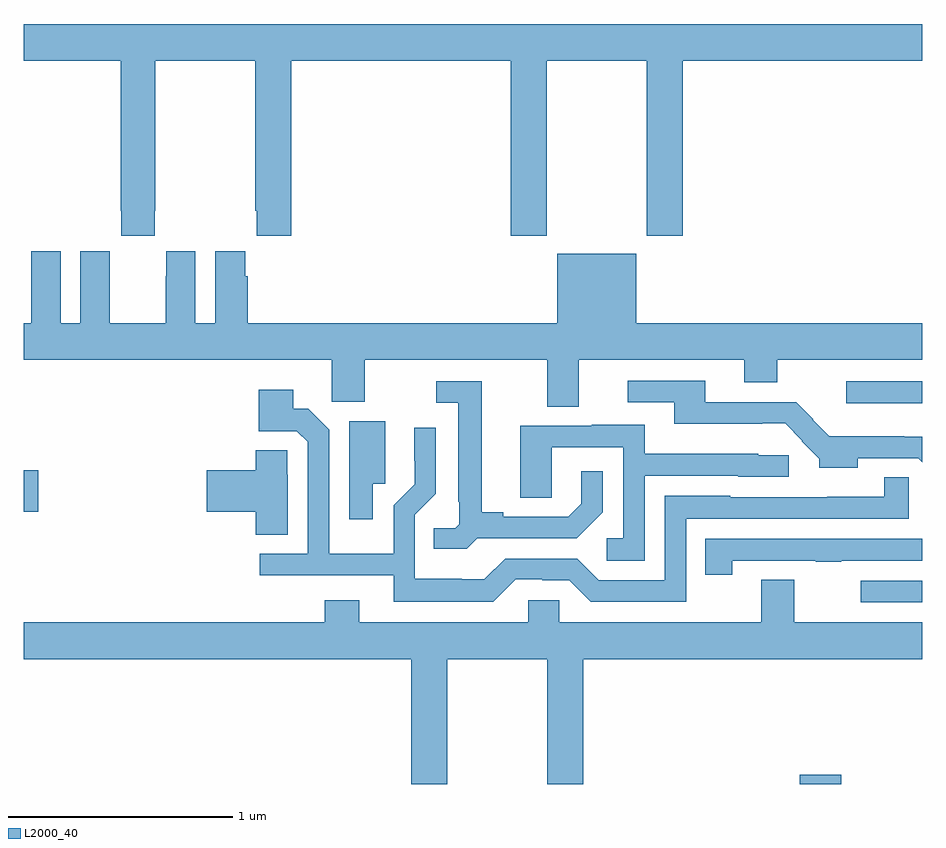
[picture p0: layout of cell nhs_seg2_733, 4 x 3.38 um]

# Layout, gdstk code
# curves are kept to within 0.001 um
import gdstk
lib = gdstk.Library(unit=1e-6, precision=1e-09)
def R(c, l, rs):  # rectangles x0, y0, x1, y1
    for r in rs: c.add(gdstk.rectangle(r[:2], r[2:], *l))
def P(c, l, *ps):  # polygons
    for p in ps: c.add(gdstk.Polygon(p, *l))
L2000_40 = (2000, 40)

nhs_seg2_733 = lib.new_cell('nhs_seg2_733')
R(nhs_seg2_733, L2000_40, [(152.456,593.8,152.639,593.842), (152.727,594.609,153,594.705), (149,595.013,149.065,595.196), (152.661,595.496,153,595.593)])
P(nhs_seg2_733, L2000_40, [(149.583,596.353),(149.586,596.353),(149.586,597.02),(150.031,597.02),(150.031,596.353),(150.037,596.353),(150.037,596.241),(150.191,596.241),(150.191,597.02),(151.169,597.02),(151.169,596.241),(151.329,596.241),(151.329,597.02),(151.774,597.02),(151.774,596.241),(151.934,596.241),(151.934,597.02),(153,597.02),(153,597.184),(149,597.184),(149,597.02),(149.431,597.02),(149.431,596.353),(149.433,596.353),(149.433,596.241),(149.583,596.241)],
  [(151.471,595.688),(152.207,595.688),(152.207,595.589),(152.355,595.589),(152.355,595.688),(153,595.688),(153,595.852),(151.726,595.852),(151.726,596.161),(151.376,596.161),(151.376,595.852),(149.996,595.852),(149.996,596.06),(149.986,596.06),(149.986,596.173),(149.852,596.173),(149.852,595.852),(149.764,595.852),(149.764,596.173),(149.634,596.173),(149.634,596.06),(149.633,596.06),(149.633,595.852),(149.383,595.852),(149.383,596.06),(149.382,596.06),(149.382,596.173),(149.252,596.173),(149.252,595.852),(149.164,595.852),(149.164,596.173),(149.034,596.173),(149.034,596.06),(149.033,596.06),(149.033,595.852),(149,595.852),(149,595.688),(150.372,595.688),(150.372,595.501),(150.519,595.501),(150.519,595.688),(151.331,595.688),(151.331,595.48),(151.471,595.48)],
  [(152.713,595.251),(152.982,595.251),(153,595.233),(153,595.346),(152.921,595.346),(152.921,595.348),(152.587,595.348),(152.513,595.421),(152.515,595.423),(152.439,595.5),(152.035,595.5),(152.035,595.596),(151.689,595.596),(151.689,595.5),(151.895,595.5),(151.895,595.403),(152.288,595.403),(152.288,595.406),(152.39,595.406),(152.466,595.329),(152.463,595.326),(152.542,595.248),(152.542,595.208),(152.713,595.208)],
  [(151.02,594.894),(151.462,594.894),(151.578,595.01),(151.578,595.192),(151.481,595.192),(151.481,595.047),(151.424,594.99),(151.135,594.99),(151.135,595.01),(151.039,595.01),(151.039,595.593),(150.837,595.593),(150.837,595.497),(150.935,595.497),(150.935,595.057),(150.939,595.057),(150.939,594.957),(150.921,594.939),(150.826,594.939),(150.826,594.847),(150.972,594.847)],
  [(151.191,594.711),(151.308,594.711),(151.308,594.708),(151.428,594.708),(151.524,594.612),(151.95,594.612),(151.95,594.981),(152.94,594.981),(152.94,595.166),(152.832,595.166),(152.832,595.078),(152.145,595.077),(152.145,595.084),(151.854,595.084),(151.854,594.708),(151.56,594.708),(151.464,594.804),(151.143,594.804),(151.05,594.711),(150.95,594.711),(150.95,594.715),(150.741,594.715),(150.741,594.999),(150.834,595.092),(150.834,595.387),(150.738,595.387),(150.738,595.24),(150.74,595.24),(150.74,595.134),(150.648,595.042),(150.648,594.826),(150.36,594.826),(150.36,595.377),(150.267,595.47),(150.199,595.47),(150.199,595.555),(150.047,595.555),(150.047,595.371),(150.216,595.371),(150.264,595.323),(150.264,594.825),(150.051,594.825),(150.051,594.729),(150.647,594.729),(150.647,594.611),(151.091,594.611)],
  [(150.553,595.137),(150.61,595.137),(150.61,595.416),(150.449,595.416),(150.449,594.978),(150.553,594.978)],
  [(151.764,595.173),(152.181,595.173),(152.181,595.167),(152.406,595.167),(152.406,595.263),(152.271,595.263),(152.271,595.27),(151.765,595.27),(151.765,595.399),(151.529,595.399),(151.529,595.395),(151.211,595.395),(151.211,595.075),(151.35,595.075),(151.35,595.299),(151.668,595.299),(151.668,594.894),(151.596,594.894),(151.596,594.793),(151.764,594.793)],
  [(150.175,595.178),(150.174,595.178),(150.174,595.286),(150.032,595.286),(150.032,595.196),(149.814,595.196),(149.814,595.013),(150.032,595.013),(150.032,594.91),(150.175,594.91)],
  [(152.154,594.795),(152.527,594.795),(152.527,594.79),(152.639,594.79),(152.639,594.795),(153,594.795),(153,594.891),(152.035,594.891),(152.035,594.732),(152.154,594.732)],
  [(150.885,594.356),(151.33,594.356),(151.33,593.8),(151.49,593.8),(151.49,594.356),(153,594.356),(153,594.52),(152.431,594.52),(152.431,594.71),(152.284,594.71),(152.284,594.52),(151.383,594.52),(151.383,594.618),(151.245,594.618),(151.245,594.52),(150.493,594.52),(150.493,594.619),(150.341,594.619),(150.341,594.52),(149,594.52),(149,594.356),(150.725,594.356),(150.725,593.8),(150.885,593.8)])

lib.write_gds('nhs_seg2_733.gds')
